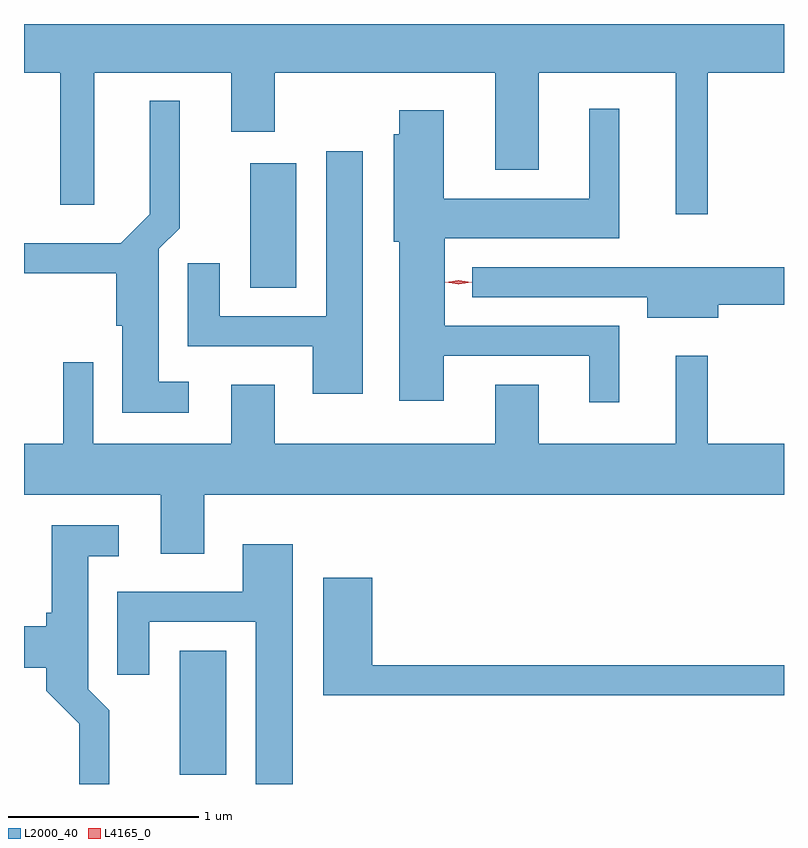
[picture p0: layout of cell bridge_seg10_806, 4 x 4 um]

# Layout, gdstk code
import gdstk
lib = gdstk.Library(unit=1e-6, precision=1e-09)
def R(c, l, rs):  # rectangles x0, y0, x1, y1
    for r in rs: c.add(gdstk.rectangle(r[:2], r[2:], *l))
def P(c, l, *ps):  # polygons
    for p in ps: c.add(gdstk.Polygon(p, *l))
L2000_40 = (2000, 40)
L4165_0 = (4165, 0)

bridge_seg10_806 = lib.new_cell('bridge_seg10_806')
R(bridge_seg10_806, L2000_40, [(202.671,2203.461,202.914,2204.114), (203.041,2206.026,203.284,2206.679)])
P(bridge_seg10_806, L2000_40, [(205.449,2207.156),(205.85,2207.156),(205.85,2207.413),(201.85,2207.413),(201.85,2207.156),(202.041,2207.156),(202.041,2206.461),(202.219,2206.461),(202.219,2207.156),(202.941,2207.156),(202.941,2206.846),(203.169,2206.846),(203.169,2207.156),(204.331,2207.156),(204.331,2206.646),(204.559,2206.646),(204.559,2207.156),(205.281,2207.156),(205.281,2206.413),(205.449,2206.413)],
  [(202.718,2205.529),(202.559,2205.529),(202.559,2206.229),(202.669,2206.339),(202.669,2207.008),(202.511,2207.008),(202.511,2206.412),(202.359,2206.259),(201.85,2206.259),(201.85,2206.101),(202.336,2206.101),(202.336,2205.826),(202.366,2205.826),(202.366,2205.366),(202.718,2205.366)],
  [(204.984,2205.824),(204.064,2205.824),(204.064,2206.286),(204.984,2206.286),(204.984,2206.968),(204.826,2206.968),(204.826,2206.494),(204.059,2206.494),(204.059,2206.959),(203.826,2206.959),(203.826,2206.834),(203.796,2206.834),(203.796,2206.266),(203.826,2206.266),(203.826,2205.431),(204.059,2205.431),(204.059,2205.666),(204.826,2205.666),(204.826,2205.423),(204.984,2205.423)],
  [(203.634,2206.744),(203.441,2206.744),(203.441,2205.874),(202.879,2205.874),(202.879,2206.153),(202.711,2206.153),(202.711,2205.716),(203.371,2205.716),(203.371,2205.466),(203.634,2205.466)],
  [(205.504,2205.936),(205.85,2205.936),(205.85,2206.134),(204.208,2206.134),(204.208,2205.976),(205.131,2205.976),(205.131,2205.866),(205.504,2205.866)],
  [(202.799,2204.936),(205.85,2204.936),(205.85,2205.204),(205.449,2205.204),(205.449,2205.668),(205.281,2205.668),(205.281,2205.204),(204.559,2205.204),(204.559,2205.514),(204.331,2205.514),(204.331,2205.204),(203.169,2205.204),(203.169,2205.514),(202.941,2205.514),(202.941,2205.204),(202.214,2205.204),(202.214,2205.633),(202.056,2205.633),(202.056,2205.204),(201.85,2205.204),(201.85,2204.936),(202.571,2204.936),(202.571,2204.626),(202.799,2204.626)],
  [(202.299,2203.802),(202.189,2203.912),(202.189,2204.611),(202.348,2204.611),(202.348,2204.774),(201.996,2204.774),(201.996,2204.314),(201.966,2204.314),(201.966,2204.244),(201.85,2204.244),(201.85,2204.026),(201.966,2204.026),(201.966,2203.904),(202.141,2203.729),(202.141,2203.413),(202.299,2203.413)],
  [(203.264,2204.674),(203.001,2204.674),(203.001,2204.424),(202.341,2204.424),(202.341,2203.988),(202.509,2203.988),(202.509,2204.266),(203.071,2204.266),(203.071,2203.413),(203.264,2203.413)],
  [(205.85,2204.039),(203.684,2204.039),(203.684,2204.499),(203.426,2204.499),(203.426,2203.881),(205.85,2203.881)])
P(bridge_seg10_806, L4165_0, [(204.137,2206.044),(204.067,2206.054),(204.067,2206.054),(204.067,2206.055),(204.137,2206.064),(204.206,2206.055),(204.206,2206.054),(204.206,2206.054)],
  [(204.136,2206.044),(204.07,2206.053),(204.069,2206.053),(204.07,2206.054),(204.136,2206.064),(204.202,2206.054),(204.203,2206.053),(204.202,2206.053)])

lib.write_gds('bridge_seg10_806.gds')
